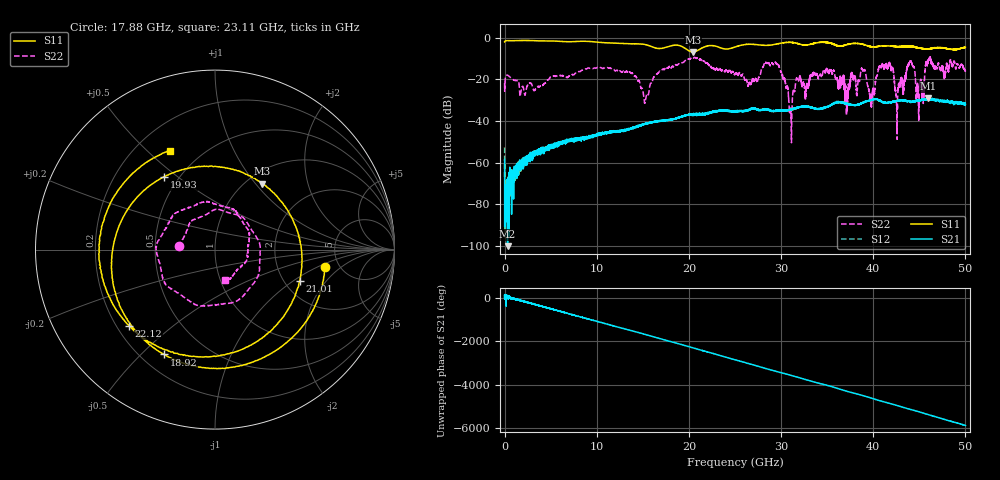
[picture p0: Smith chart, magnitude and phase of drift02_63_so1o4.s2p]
!Created with skrf (http://scikit-rf.org).
# Hz S RI R 50.0
!freq ReS11 ImS11 ReS21 ImS21 ReS12 ImS12 ReS22 ImS22
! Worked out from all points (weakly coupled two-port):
!   10001 points, 300 kHz to 50 GHz, reference 50 ohm
!   highest |S21| = -29.08 dB at 45.97 GHz (marker M1); lowest = -100.1 dB at 325.3 MHz (marker M2)
!   lowest |S11| = -6.9 dB at 20.44 GHz (marker M3), VSWR 2.65, Z = 58.7 + j54.1 ohm
!   |S11| at or under -10 dB: nowhere
!   |S22| runs from -50.4 to -9.3 dB; largest |S21 - S12| = 0.0034
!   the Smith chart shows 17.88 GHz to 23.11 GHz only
!   S11 on the Smith chart (normalised r, x): 17.88 GHz: 3.85, -1.25; 18.92 GHz: 0.29, -0.59; 19.93 GHz: 0.42, +0.45; 21.01 GHz: 2.41, -1.13; 22.12 GHz: 0.25, -0.36; 23.11 GHz: 0.34, +0.59
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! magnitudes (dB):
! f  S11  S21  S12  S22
! 300 kHz  -2.1  -58.5  -52.7  -21.8
! 325.3 MHz  -1.4  -100.1  -71.8  -18.0
! 8.335 GHz  -1.7  -49.0  -48.4  -15.7
! 15.32 GHz  -3.4  -41.4  -41.6  -29.2
! 16.67 GHz  -5.2  -40.0  -40.2  -17.0
! 17.88 GHz  -4.1  -39.6  -39.6  -13.9
! 18.92 GHz  -3.7  -38.3  -38.3  -12.5
! 19.93 GHz  -6.1  -36.9  -37.0  -10.1
! 20.44 GHz  -6.9  -36.7  -37.5  -10.0
! 21.01 GHz  -6.0  -36.9  -36.8  -9.8
! 22.12 GHz  -3.9  -36.1  -36.5  -13.0
! 23.11 GHz  -4.3  -35.4  -35.1  -15.1
! 25 GHz  -4.5  -35.1  -35.2  -17.7
! 29.52 GHz  -3.1  -34.8  -35.1  -12.7
! 31.03 GHz  -2.2  -34.4  -34.7  -35.5
! 33.34 GHz  -3.0  -33.6  -33.6  -18.1
! 39.78 GHz  -4.4  -30.0  -29.9  -32.2
! 41.67 GHz  -3.9  -31.0  -31.1  -13.1
! 44.17 GHz  -4.3  -30.8  -30.6  -11.8
! 44.85 GHz  -4.8  -30.2  -30.3  -25.2
! 45.97 GHz  -5.4  -29.1  -29.5  -10.6
! 50 GHz  -4.7  -32.0  -31.6  -15.8
